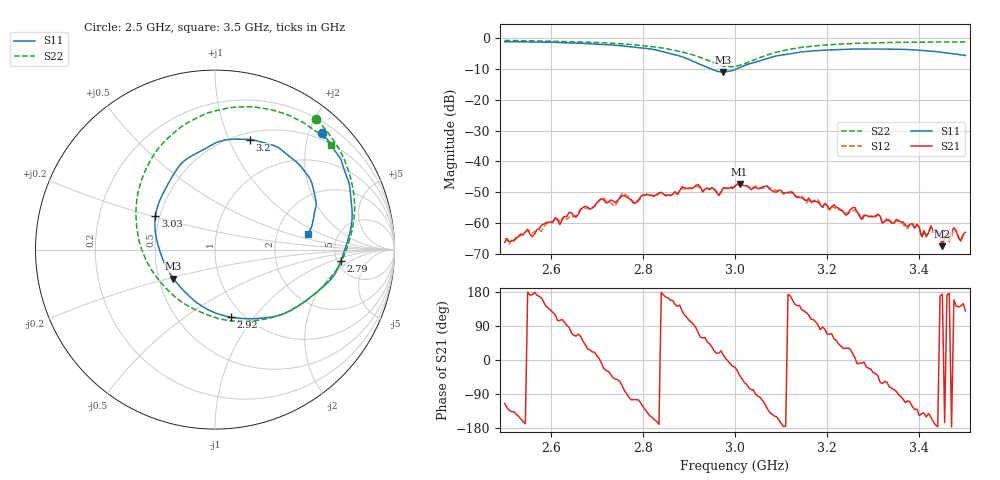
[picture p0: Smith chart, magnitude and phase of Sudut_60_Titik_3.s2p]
# Hz S RI R 50
! CMT, C1220, 16058040, 17.2.0/1
! Date: 15/08/2018 10:40:15
! Data: Format (Calibration Info)
! Freq  S11: Re/Im (F2)  S21: Re/Im (F2)  S12: Re/Im (F2)  S22: Re/Im (F2)
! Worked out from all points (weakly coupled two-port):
!   201 points, 2.5 GHz to 3.5 GHz, reference 50 ohm
!   highest |S21| = -47.37 dB at 3.01 GHz (marker M1); lowest = -67.6 dB at 3.45 GHz (marker M2)
!   lowest |S11| = -11.0 dB at 2.975 GHz (marker M3), VSWR 1.79, Z = 29.8 - j10.5 ohm
!   |S11| at or under -10 dB: 2.949 GHz to 3.003 GHz (54.81 MHz wide, 1.84 % of centre)
!   |S22| runs from -9.2 to -0.7 dB; largest |S21 - S12| = 0.00039
!   S11 on the Smith chart (normalised r, x): 2.5 GHz: 0.39, +2.22; 2.79 GHz: 5.45, -1.32; 2.92 GHz: 0.88, -0.78; 3.03 GHz: 0.47, +0.20; 3.2 GHz: 0.57, +1.19; 3.5 GHz: 3.01, +0.71
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2.5e9  0.5938 0.6484  -0.000199 -0.000441  -0.000199 -0.000516  0.5643 0.7249
2.67e9  0.7518 0.3399  0.00114 0.00136  0.00119 0.00124  0.7393 0.4524
2.71e9  0.7636 0.2178  0.00245 -0.000345  0.00253 -0.00023  0.7656 0.3554
2.74e9  0.7589 0.1279  0.00136 -0.00163  0.00131 -0.00132  0.7767 0.2717
2.755e9  0.7462 0.0736  0.00105 -0.00255  0.0013 -0.00271  0.7782 0.2242
2.79e9  0.7024 -0.0607  -0.000623 -0.00227  -0.000712 -0.00211  0.763 0.1048
2.835e9  0.5877 -0.2198  -0.00302 -0.000543  -0.00293 -0.000629  0.7027 -0.0674
2.92e9  0.0899 -0.3772  0.00127 0.00398  0.00115 0.00376  0.3345 -0.3745
2.975e9  -0.2312 -0.1618  0.00364 0.000813  0.00358 0.000827  -0.0973 -0.3404
3e9  -0.3088 -0.00279  0.00376 -0.00129  0.00365 -0.00144  -0.2749 -0.2133
3.01e9  -0.3265 0.0628  0.00324 -0.0028  0.00313 -0.00264  -0.3318 -0.1453
3.03e9  -0.3322 0.1853  0.00111 -0.00365  0.00115 -0.00369  -0.4109 0.0069
3.17e9  0.0941 0.6144  -0.000646 0.00217  -0.000848 0.00207  -0.0872 0.741
3.2e9  0.1933 0.6128  0.0007 0.00175  0.000833 0.00175  0.0228 0.7775
3.335e9  0.4929 0.4446  0.000347 -0.00101  0.000292 -0.0011  0.3932 0.7548
3.395e9  0.5501 0.3264  -0.000601 -0.000728  -0.000661 -0.000691  0.5044 0.6997
3.405e9  0.5562 0.3  -0.00047 -0.000375  -0.000484 -0.000318  0.5201 0.6883
3.425e9  0.5636 0.2527  -0.00078 -0.000442  -0.000767 -0.000389  0.5502 0.6684
3.45e9  0.5531 0.198  -0.000416 4.67e-05  -0.00043 4.07e-05  0.5868 0.6396
3.475e9  0.5401 0.1336  -0.000777 0.000309  -0.000789 0.000211  0.6172 0.6122
3.49e9  0.5267 0.104  -0.000401 0.00031  -0.000394 0.000326  0.6351 0.5936
3.5e9  0.5165 0.0855  -0.000448 0.000538  -0.000351 0.000503  0.6463 0.5826
